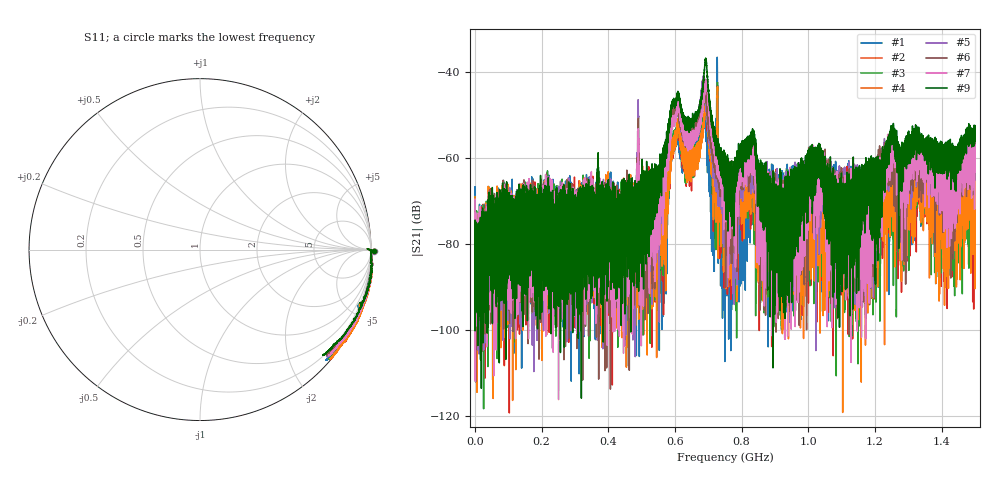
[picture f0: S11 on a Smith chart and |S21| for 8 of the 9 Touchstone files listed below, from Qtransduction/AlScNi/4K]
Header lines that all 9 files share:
!Agilent Technologies,N5230C,SG49000117,A.08.50.07
!Agilent N5230C: A.08.50.07
!Correction: S11(Full 2 Port(1,2))
!S21(Full 2 Port(1,2))
!S12(Full 2 Port(1,2))
!S22(Full 2 Port(1,2))
!S2P File: Measurements: S11, S21, S12, S22:
# Hz S  RI  R 50
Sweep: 300 kHz to 1.5 GHz
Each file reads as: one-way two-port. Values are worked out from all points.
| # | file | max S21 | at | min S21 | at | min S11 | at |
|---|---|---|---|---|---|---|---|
| 1 | B1.s2p | -36.49 dB | 726.8 MHz | -111.8 dB | 288.9 MHz | -0.2 dB | 525 kHz |
| 2 | B4.s2p | -42.96 dB | 727.2 MHz | -119.2 dB | 103.3 MHz | -0.2 dB | 749.9 kHz |
| 3 | B5.s2p | -42.34 dB | 727.6 MHz | -118.2 dB | 26.09 MHz | -0.2 dB | 749.9 kHz |
| 4 | B6.s2p | -43.34 dB | 727.7 MHz | -119.1 dB | 1.103 GHz | -0.2 dB | 749.9 kHz |
| 5 | C1.s2p | -40.84 dB | 685.3 MHz | -110.2 dB | 57.59 MHz | -0.3 dB | 1.497 GHz |
| 6 | C3.s2p | -41.19 dB | 687.9 MHz | -113.6 dB | 406.4 MHz | -0.4 dB | 1.497 GHz |
| 7 | C6.s2p | -41.78 dB | 693.2 MHz | -116.1 dB | 250.9 MHz | -0.2 dB | 1.497 GHz |
| 8 | D1.s2p | -37.23 dB | 687 MHz | -116.0 dB | 5.474 MHz | -0.6 dB | 1.497 GHz |
| 9 | D5.s2p | -36.72 dB | 692.1 MHz | -115.8 dB | 319.3 MHz | -0.5 dB | 1.5 GHz |
